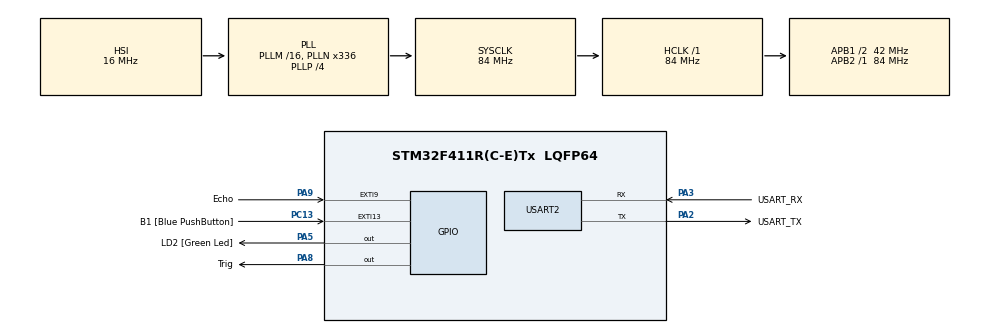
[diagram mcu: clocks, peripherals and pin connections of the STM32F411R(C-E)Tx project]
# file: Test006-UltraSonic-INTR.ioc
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Mcu.Family=STM32F4
Mcu.Name=STM32F411R(C-E)Tx
Mcu.Package=LQFP64
NVIC.EXTI9_5_IRQn=true\:0\:0\:false\:false\:true\:true\:true\:true
NVIC.PriorityGroup=NVIC_PRIORITYGROUP_0
NVIC.TIM3_IRQn=true\:0\:0\:false\:false\:true\:true\:true\:true
PA13.GPIO_Label=TMS
PA13.Mode=Serial_Wire
PA13.Signal=SYS_JTMS-SWDIO
PA14.GPIO_Label=TCK
PA14.Mode=Serial_Wire
PA14.Signal=SYS_JTCK-SWCLK
PA2.GPIO_Label=USART_TX
PA2.Mode=Asynchronous
PA2.Signal=USART2_TX
PA3.GPIO_Label=USART_RX
PA3.Mode=Asynchronous
PA3.Signal=USART2_RX
PA5.GPIO_Label=LD2 [Green Led]
PA5.Signal=GPIO_Output
PA8.GPIO_Label=Trig
PA8.Signal=GPIO_Output
PA9.GPIO_Label=Echo
PA9.GPIO_ModeDefaultEXTI=GPIO_MODE_IT_RISING_FALLING
PA9.Signal=GPXTI9
PB3.GPIO_Label=SWO
PB3.Signal=SYS_JTDO-SWO
PC13-ANTI_TAMP.GPIO_Label=B1 [Blue PushButton]
PC13-ANTI_TAMP.GPIO_ModeDefaultEXTI=GPIO_MODE_IT_FALLING
PC13-ANTI_TAMP.Signal=GPXTI13
PC14-OSC32_IN.Mode=LSE-External-Oscillator
PC14-OSC32_IN.Signal=RCC_OSC32_IN
PC15-OSC32_OUT.Mode=LSE-External-Oscillator
PC15-OSC32_OUT.Signal=RCC_OSC32_OUT
PH0\ -\ OSC_IN.Mode=HSE-External-Clock-Source
PH0\ -\ OSC_IN.Signal=RCC_OSC_IN
PH1\ -\ OSC_OUT.Mode=HSE-External-Clock-Source
PH1\ -\ OSC_OUT.Signal=RCC_OSC_OUT
ProjectManager.HeapSize=0x200
ProjectManager.StackSize=0x400
ProjectManager.TargetToolchain=STM32CubeIDE
RCC.48MHZClocksFreq_Value=84000000
RCC.AHBFreq_Value=84000000
RCC.APB1CLKDivider=RCC_HCLK_DIV2
RCC.APB1Freq_Value=42000000
RCC.APB1TimFreq_Value=84000000
RCC.APB2Freq_Value=84000000
RCC.APB2TimFreq_Value=84000000
RCC.CortexFreq_Value=84000000
RCC.FLatency-AdvancedSettings=FLASH_LATENCY_2
RCC.HCLKFreq_Value=84000000
RCC.HSE_VALUE=8000000
RCC.HSI_VALUE=16000000
RCC.PLLN=336
RCC.PLLP=RCC_PLLP_DIV4
RCC.SYSCLKFreq_VALUE=84000000
RCC.SYSCLKSource=RCC_SYSCLKSOURCE_PLLCLK
RCC.VCOOutputFreq_Value=336000000
TIM2.Prescaler=84 - 1
TIM3.Period=5000 - 1
TIM3.Prescaler=2100 - 1
USART2.VirtualMode=VM_ASYNC
VP_TIM2_VS_ClockSourceINT.Mode=Internal
VP_TIM3_VS_ClockSourceINT.Mode=Internal
board=NUCLEO-F411RE

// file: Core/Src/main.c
/* USER CODE BEGIN Header */
/**
  ******************************************************************************
  * @file           : main.c
  * @brief          : Main program body
  ******************************************************************************
  * @attention
  *
  * Copyright (c) 2025 STMicroelectronics.
  * All rights reserved.
  *
  * This software is licensed under terms that can be found in the LICENSE file
  * in the root directory of this software component.
  * If no LICENSE file comes with this software, it is provided AS-IS.
  *
  ******************************************************************************
  */
/* USER CODE END Header */
#include "main.h"

/* USER CODE BEGIN Includes */
#include <stdio.h>
#include "C:\Users\user\source\repos\STM32\myLib\UltraSonic.h" // Function Call

// #include "UltraSonic.h"
/* USER CODE END Includes */

TIM_HandleTypeDef htim2;
TIM_HandleTypeDef htim3;

UART_HandleTypeDef huart2;

void SystemClock_Config(void);
static void MX_GPIO_Init(void);
static void MX_USART2_UART_Init(void);
static void MX_TIM2_Init(void);
static void MX_TIM3_Init(void);

/* USER CODE BEGIN 0 */
volatile double dist; //
volatile int Time_REF, Time_RT; //

// *** External Interrupt ISR  *** //
void HAL_GPIO_EXTI_Callback(uint16_t GPIO_Pin)
{
	// Assume that there is "Echo" GPIO EXTI Pin

	if ( GPIO_Pin == Echo_Pin )
	{
		// Rising Edge ('0' -> '1')
		if ( HAL_GPIO_ReadPin(Echo_GPIO_Port, Echo_Pin) == 1 )
			// Time_REF = htim2.Instance->CNT;
			htim2.Instance->CNT = 0;

		// Falling Edge ('1' -> '0')
		else // ( HAL_GPIO_ReadPin(Echo_GPIO_Port, Echo_Pin) == 0 )
		{
			Time_RT = htim2.Instance->CNT; // Round-trip Time
			// dist = (Time_RT - Time_REF) * 0.17; // mm Scale
			dist = (Time_RT - 0) * 0.17;
		}
	}
}
// *** External Interrupt ISR  *** //

// *** Timer Interrupt ISR  *** //
void HAL_TIM_PeriodElapsedCallback(TIM_HandleTypeDef *htim)
{
	// Set Timer3 Parameter : PSC = (2100 - 1) & ARR = (5000 - 1)
	// Per 125 ms, Timer3 Interrupt occurs and Trigger Pulse is generated.

	if (htim == &htim3) Trigger(); // Trigger Pulse Generation

}
// *** Timer Interrupt ISR  *** //

/* USER CODE END 0 */

int main(void)
{

  /* MCU Configuration--------------------------------------------------------*/

  /* Reset of all peripherals, Initializes the Flash interface and the Systick. */
  HAL_Init();

  /* Configure the system clock */
  SystemClock_Config();

  /* Initialize all configured peripherals */
  MX_GPIO_Init();
  MX_USART2_UART_Init();
  MX_TIM2_Init();
  MX_TIM3_Init();
  /* USER CODE BEGIN 2 */
  ProgramStart("Ultra-Sonic Sensor (SRF05) - GPIO Interrupt");
  TIM_init(&htim2); // which Timer will be used?
  HAL_TIM_Base_Start(&htim2); // Start Timer2
  HAL_TIM_Base_Start_IT(&htim3); // Start Timer3 as Interrupt

  /* USER CODE END 2 */

  /* Infinite loop */
  /* USER CODE BEGIN WHILE */
  while (1)
  {
	  // Trigger(); // Trigger Pulse Generation

	  printf( "Distance : %f \r\n", dist);
	  HAL_Delay(500); // Meas. Interval 500 ms

    /* USER CODE END WHILE */

  }
}

void SystemClock_Config(void)
{
  RCC_OscInitTypeDef RCC_OscInitStruct = {0};
  RCC_ClkInitTypeDef RCC_ClkInitStruct = {0};

  /** Configure the main internal regulator output voltage
  */
  __HAL_RCC_PWR_CLK_ENABLE();
  __HAL_PWR_VOLTAGESCALING_CONFIG(PWR_REGULATOR_VOLTAGE_SCALE1);

  /** Initializes the RCC Oscillators according to the specified parameters
  * in the RCC_OscInitTypeDef structure.
  */
  RCC_OscInitStruct.OscillatorType = RCC_OSCILLATORTYPE_HSI;
  RCC_OscInitStruct.HSIState = RCC_HSI_ON;
  RCC_OscInitStruct.HSICalibrationValue = RCC_HSICALIBRATION_DEFAULT;
  RCC_OscInitStruct.PLL.PLLState = RCC_PLL_ON;
  RCC_OscInitStruct.PLL.PLLSource = RCC_PLLSOURCE_HSI;
  RCC_OscInitStruct.PLL.PLLM = 16;
  RCC_OscInitStruct.PLL.PLLN = 336;
  RCC_OscInitStruct.PLL.PLLP = RCC_PLLP_DIV4;
  RCC_OscInitStruct.PLL.PLLQ = 4;
  if (HAL_RCC_OscConfig(&RCC_OscInitStruct) != HAL_OK)
  {
    Error_Handler();
  }

  /** Initializes the CPU, AHB and APB buses clocks
  */
  RCC_ClkInitStruct.ClockType = RCC_CLOCKTYPE_HCLK|RCC_CLOCKTYPE_SYSCLK
                              |RCC_CLOCKTYPE_PCLK1|RCC_CLOCKTYPE_PCLK2;
  RCC_ClkInitStruct.SYSCLKSource = RCC_SYSCLKSOURCE_PLLCLK;
  RCC_ClkInitStruct.AHBCLKDivider = RCC_SYSCLK_DIV1;
  RCC_ClkInitStruct.APB1CLKDivider = RCC_HCLK_DIV2;
  RCC_ClkInitStruct.APB2CLKDivider = RCC_HCLK_DIV1;

  if (HAL_RCC_ClockConfig(&RCC_ClkInitStruct, FLASH_LATENCY_2) != HAL_OK)
  {
    Error_Handler();
  }
}

static void MX_TIM2_Init(void)
{

  TIM_ClockConfigTypeDef sClockSourceConfig = {0};
  TIM_MasterConfigTypeDef sMasterConfig = {0};

  htim2.Instance = TIM2;
  htim2.Init.Prescaler = 84 - 1;
  htim2.Init.CounterMode = TIM_COUNTERMODE_UP;
  htim2.Init.Period = 4294967295;
  htim2.Init.ClockDivision = TIM_CLOCKDIVISION_DIV1;
  htim2.Init.AutoReloadPreload = TIM_AUTORELOAD_PRELOAD_DISABLE;
  if (HAL_TIM_Base_Init(&htim2) != HAL_OK)
  {
    Error_Handler();
  }
  sClockSourceConfig.ClockSource = TIM_CLOCKSOURCE_INTERNAL;
  if (HAL_TIM_ConfigClockSource(&htim2, &sClockSourceConfig) != HAL_OK)
  {
    Error_Handler();
  }
  sMasterConfig.MasterOutputTrigger = TIM_TRGO_RESET;
  sMasterConfig.MasterSlaveMode = TIM_MASTERSLAVEMODE_DISABLE;
  if (HAL_TIMEx_MasterConfigSynchronization(&htim2, &sMasterConfig) != HAL_OK)
  {
    Error_Handler();
  }

}

static void MX_TIM3_Init(void)
{

  TIM_ClockConfigTypeDef sClockSourceConfig = {0};
  TIM_MasterConfigTypeDef sMasterConfig = {0};

  htim3.Instance = TIM3;
  htim3.Init.Prescaler = 2100 - 1;
  htim3.Init.CounterMode = TIM_COUNTERMODE_UP;
  htim3.Init.Period = 5000 - 1;
  htim3.Init.ClockDivision = TIM_CLOCKDIVISION_DIV1;
  htim3.Init.AutoReloadPreload = TIM_AUTORELOAD_PRELOAD_DISABLE;
  if (HAL_TIM_Base_Init(&htim3) != HAL_OK)
  {
    Error_Handler();
  }
  sClockSourceConfig.ClockSource = TIM_CLOCKSOURCE_INTERNAL;
  if (HAL_TIM_ConfigClockSource(&htim3, &sClockSourceConfig) != HAL_OK)
  {
    Error_Handler();
  }
  sMasterConfig.MasterOutputTrigger = TIM_TRGO_RESET;
  sMasterConfig.MasterSlaveMode = TIM_MASTERSLAVEMODE_DISABLE;
  if (HAL_TIMEx_MasterConfigSynchronization(&htim3, &sMasterConfig) != HAL_OK)
  {
    Error_Handler();
  }

}

static void MX_USART2_UART_Init(void)
{

  huart2.Instance = USART2;
  huart2.Init.BaudRate = 115200;
  huart2.Init.WordLength = UART_WORDLENGTH_8B;
  huart2.Init.StopBits = UART_STOPBITS_1;
  huart2.Init.Parity = UART_PARITY_NONE;
  huart2.Init.Mode = UART_MODE_TX_RX;
  huart2.Init.HwFlowCtl = UART_HWCONTROL_NONE;
  huart2.Init.OverSampling = UART_OVERSAMPLING_16;
  if (HAL_UART_Init(&huart2) != HAL_OK)
  {
    Error_Handler();
  }

}

static void MX_GPIO_Init(void)
{
  GPIO_InitTypeDef GPIO_InitStruct = {0};

  /* GPIO Ports Clock Enable */
  __HAL_RCC_GPIOC_CLK_ENABLE();
  __HAL_RCC_GPIOH_CLK_ENABLE();
  __HAL_RCC_GPIOA_CLK_ENABLE();
  __HAL_RCC_GPIOB_CLK_ENABLE();

  /*Configure GPIO pin Output Level */
  HAL_GPIO_WritePin(GPIOA, LD2_Pin|Trig_Pin, GPIO_PIN_RESET);

  /*Configure GPIO pin : B1_Pin */
  GPIO_InitStruct.Pin = B1_Pin;
  GPIO_InitStruct.Mode = GPIO_MODE_IT_FALLING;
  GPIO_InitStruct.Pull = GPIO_NOPULL;
  HAL_GPIO_Init(B1_GPIO_Port, &GPIO_InitStruct);

  /*Configure GPIO pins : LD2_Pin Trig_Pin */
  GPIO_InitStruct.Pin = LD2_Pin|Trig_Pin;
  GPIO_InitStruct.Mode = GPIO_MODE_OUTPUT_PP;
  GPIO_InitStruct.Pull = GPIO_NOPULL;
  GPIO_InitStruct.Speed = GPIO_SPEED_FREQ_LOW;
  HAL_GPIO_Init(GPIOA, &GPIO_InitStruct);

  /*Configure GPIO pin : Echo_Pin */
  GPIO_InitStruct.Pin = Echo_Pin;
  GPIO_InitStruct.Mode = GPIO_MODE_IT_RISING_FALLING;
  GPIO_InitStruct.Pull = GPIO_NOPULL;
  HAL_GPIO_Init(Echo_GPIO_Port, &GPIO_InitStruct);

  /* EXTI interrupt init*/
  HAL_NVIC_SetPriority(EXTI9_5_IRQn, 0, 0);
  HAL_NVIC_EnableIRQ(EXTI9_5_IRQn);

}

void Error_Handler(void)
{
  __disable_irq();
  while (1)
  {
  }
}
